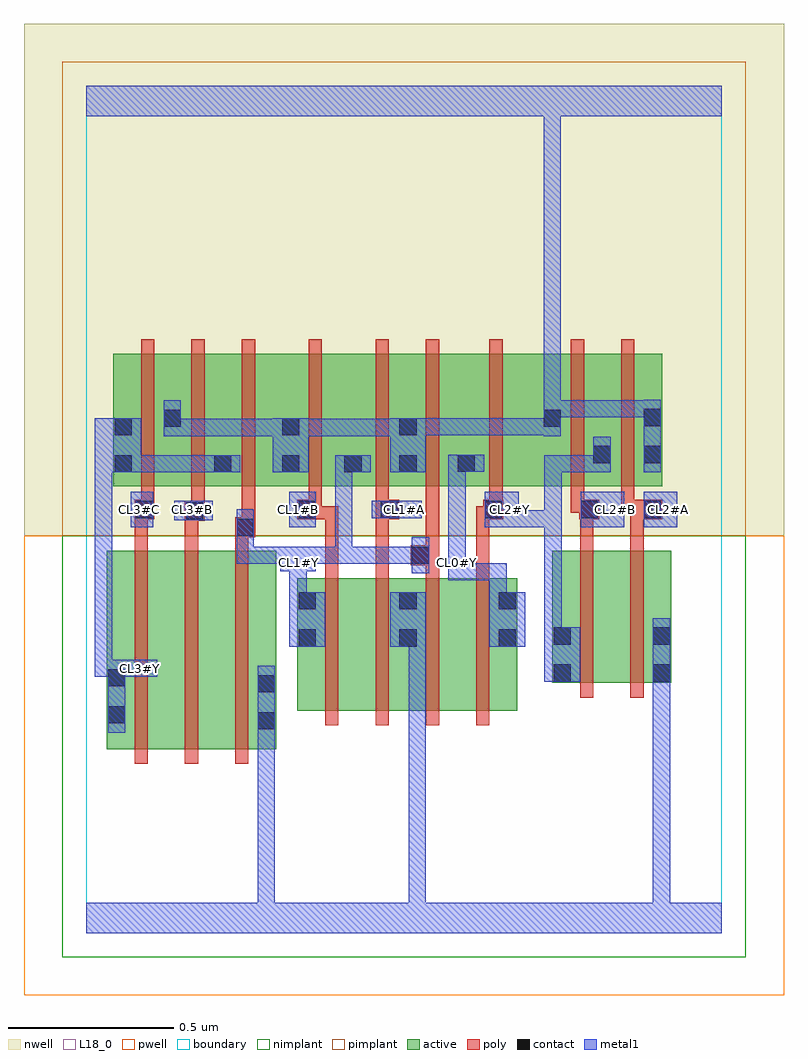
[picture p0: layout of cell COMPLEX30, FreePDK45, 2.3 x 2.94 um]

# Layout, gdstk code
import gdstk
lib = gdstk.Library(unit=1e-6, precision=1e-09)
def R(c, l, rs):  # rectangles x0, y0, x1, y1
    for r in rs: c.add(gdstk.rectangle(r[:2], r[2:], *l))
def A(c, l, x, y, w, h, nx, ny, dx, dy):  # array of equal rectangles
    R(c, l, [(x+i*dx, y+j*dy, x+i*dx+w, y+j*dy+h) for i in range(nx) for j in range(ny)])
active = (1, 0)
pwell = (2, 0)
nwell = (3, 0)
nimplant = (4, 0)
pimplant = (5, 0)
poly = (9, 0)
contact = (10, 0)
metal1 = (11, 0)
L18_0 = (18, 0)
boundary = (235, 0)

complex30 = lib.new_cell('COMPLEX30')
R(complex30, active, [(0.062,0.556,0.122,1.156), (0.062,0.556,0.242,1.156), (0.242,0.556,0.394,1.156), (0.394,0.556,0.574,1.156), (0.514,0.556,0.574,1.156), (0.638,0.672,0.818,1.072), (0.818,0.672,1.002,1.072), (0.942,0.672,1.122,1.072), (1.122,0.672,1.302,1.072), (0.638,0.756,0.698,1.072), (0.942,0.756,1.002,1.072), (1.242,0.756,1.302,1.072), (1.408,0.756,1.468,1.156), (1.408,0.756,1.588,1.156), (1.588,0.756,1.768,1.156), (1.708,0.756,1.768,1.156), (0.082,1.35,0.142,1.644), (0.082,1.35,0.29,1.75), (0.23,1.35,0.29,1.644), (0.23,1.35,0.442,1.75), (0.382,1.35,0.442,1.644), (0.382,1.35,0.648,1.75), (0.588,1.35,0.648,1.644), (0.588,1.35,0.836,1.75), (0.776,1.35,0.836,1.644), (0.776,1.35,1.002,1.75), (0.942,1.35,1.002,1.644), (0.942,1.35,1.178,1.75), (1.118,1.35,1.178,1.644), (1.118,1.35,1.438,1.75), (1.378,1.35,1.438,1.644), (1.378,1.35,1.588,1.75), (1.528,1.35,1.588,1.644), (1.528,1.35,1.74,1.75), (1.68,1.35,1.74,1.644)])
R(complex30, pwell, [(-0.188,-0.188,2.108,1.2)])
R(complex30, nwell, [(-0.188,1.2,2.108,2.748)])
R(complex30, nimplant, [(-0.072,-0.072,1.992,1.2)])
R(complex30, pimplant, [(-0.072,1.2,1.992,2.632)])
A(complex30, poly, 0.146, 0.512, 0.04, 0.688, 3, 1, 0.152, 0)
A(complex30, poly, 0.722, 0.628, 0.04, 0.488, 4, 1, 0.152, 0)
A(complex30, poly, 0.166, 1.306, 0.04, 0.488, 3, 1, 0.152, 0)
R(complex30, poly, [(1.492,0.712,1.532,1.2), (1.644,0.712,1.684,1.2), (0.722,1.076,0.762,1.29), (0.874,1.076,0.914,1.29), (1.026,1.076,1.066,1.152), (1.178,1.076,1.218,1.29), (0.98,1.112,1.066,1.172), (1.026,1.132,1.066,1.172), (1.026,1.132,1.066,1.172), (1.026,1.132,1.066,1.346), (0.146,1.16,0.186,1.29), (0.298,1.16,0.338,1.286), (0.45,1.16,0.49,1.236), (1.492,1.16,1.532,1.29), (1.644,1.16,1.684,1.29), (0.45,1.196,0.51,1.256), (0.47,1.216,0.51,1.256), (0.47,1.216,0.51,1.256), (0.47,1.216,0.51,1.346), (0.298,1.246,0.338,1.286), (0.298,1.246,0.338,1.286), (0.298,1.246,0.358,1.306), (0.146,1.25,0.186,1.29), (0.146,1.25,0.186,1.29), (0.146,1.25,0.206,1.31), (0.638,1.25,0.712,1.31), (0.672,1.25,0.712,1.29), (0.672,1.25,0.762,1.29), (0.874,1.25,0.914,1.29), (0.874,1.25,0.914,1.29), (0.874,1.25,0.946,1.31), (1.178,1.25,1.24,1.29), (1.2,1.25,1.24,1.29), (1.2,1.25,1.26,1.31), (1.49,1.25,1.55,1.31), (1.644,1.25,1.74,1.31), (0.318,1.266,0.358,1.346), (0.166,1.27,0.206,1.346), (0.672,1.27,0.712,1.346), (0.874,1.27,0.914,1.346), (1.218,1.27,1.258,1.346), (1.464,1.27,1.504,1.346), (1.464,1.27,1.53,1.31), (1.49,1.27,1.53,1.31), (1.616,1.27,1.656,1.346), (1.616,1.27,1.684,1.31), (1.644,1.27,1.684,1.31), (0.672,1.306,0.712,1.794), (0.874,1.306,0.914,1.794), (1.026,1.306,1.066,1.794), (1.218,1.306,1.258,1.794), (1.464,1.306,1.504,1.794), (1.616,1.306,1.656,1.794)])
R(complex30, contact, [(0.518,0.616,0.57,0.668), (0.066,0.634,0.118,0.686), (0.518,0.728,0.57,0.78), (0.066,0.746,0.118,0.798), (1.412,0.76,1.464,0.812), (1.712,0.76,1.764,0.812), (0.642,0.866,0.694,0.918), (0.946,0.866,0.998,0.918), (1.246,0.866,1.298,0.918), (1.412,0.872,1.464,0.924), (1.712,0.872,1.764,0.924), (0.642,0.978,0.694,1.03), (0.946,0.978,0.998,1.03), (1.246,0.978,1.298,1.03), (0.984,1.116,1.036,1.168), (0.454,1.2,0.506,1.252), (0.302,1.25,0.354,1.302), (0.15,1.254,0.202,1.306), (0.642,1.254,0.694,1.306), (0.89,1.254,0.942,1.306), (1.204,1.254,1.256,1.306), (1.494,1.254,1.546,1.306), (1.684,1.254,1.736,1.306), (0.086,1.392,0.138,1.444), (0.386,1.392,0.438,1.444), (0.592,1.392,0.644,1.444), (0.78,1.392,0.832,1.444), (0.946,1.392,0.998,1.444), (1.122,1.394,1.174,1.446), (1.532,1.42,1.584,1.472), (1.684,1.42,1.736,1.472), (0.086,1.504,0.138,1.556), (0.592,1.504,0.644,1.556), (0.946,1.504,0.998,1.556), (0.234,1.53,0.286,1.582), (1.382,1.53,1.434,1.582), (1.684,1.532,1.736,1.584)])
R(complex30, metal1, [(0,0,1.92,0.092), (0.518,0.04,0.57,0.092), (0.518,0.04,0.57,0.092), (0.518,0.04,0.57,0.092), (0.518,0.04,0.57,0.092), (0.518,0.04,0.57,0.092), (0.518,0.04,0.57,0.092), (0.518,0.04,0.57,0.092), (0.518,0.04,0.57,0.092), (0.518,0.04,0.57,0.64), (0.974,0.04,1.026,0.092), (0.974,0.04,1.026,0.092), (0.974,0.04,1.026,0.092), (0.974,0.04,1.026,0.092), (0.974,0.04,1.026,0.918), (1.712,0.04,1.764,0.092), (1.712,0.04,1.764,0.092), (1.712,0.04,1.764,0.092), (1.712,0.04,1.764,0.092), (1.712,0.04,1.764,0.092), (1.712,0.04,1.764,0.092), (1.712,0.04,1.764,0.092), (1.712,0.04,1.764,0.092), (1.712,0.04,1.764,0.092), (1.712,0.04,1.764,0.092), (1.712,0.04,1.764,0.092), (1.712,0.04,1.764,0.092), (1.712,0.04,1.764,0.784), (0.518,0.588,0.57,0.808), (0.066,0.606,0.118,0.826), (1.712,0.732,1.764,0.952), (1.384,0.76,1.492,0.924), (0.026,0.774,0.078,0.826), (0.026,0.774,0.078,0.826), (0.026,0.774,0.078,1.444), (0.026,0.774,0.214,0.826), (0.066,0.774,0.118,0.826), (0.614,0.866,0.722,1.03), (0.918,0.866,1.026,1.03), (0.974,0.866,1.026,0.918), (0.974,0.866,1.026,0.918), (0.974,0.866,1.026,0.918), (0.974,0.866,1.026,0.918), (0.974,0.866,1.026,0.918), (0.974,0.866,1.026,0.918), (0.974,0.866,1.026,0.918), (0.974,0.866,1.026,0.918), (1.218,0.866,1.326,1.03), (1.384,0.872,1.436,0.924), (1.384,0.872,1.436,0.924), (1.384,0.872,1.436,1.278), (0.614,0.978,0.666,1.146), (1.218,0.978,1.27,1.118), (1.094,1.066,1.146,1.118), (1.094,1.066,1.146,1.118), (1.094,1.066,1.146,1.174), (1.094,1.066,1.27,1.118), (1.218,1.066,1.27,1.118), (0.984,1.088,1.036,1.196), (0.586,1.094,0.694,1.168), (0.454,1.116,0.506,1.224), (0.454,1.116,0.638,1.168), (0.642,1.116,0.694,1.168), (0.642,1.116,0.694,1.168), (0.642,1.116,0.804,1.168), (0.752,1.116,0.804,1.168), (0.752,1.116,0.804,1.168), (0.752,1.116,0.804,1.168), (0.752,1.116,0.804,1.168), (0.752,1.116,0.804,1.168), (0.752,1.116,1.036,1.168), (0.752,1.116,0.804,1.444), (0.984,1.116,1.036,1.168), (0.984,1.116,1.036,1.168), (1.094,1.122,1.146,1.446), (0.454,1.172,0.506,1.224), (0.454,1.172,0.506,1.28), (0.134,1.226,0.202,1.334), (0.614,1.226,0.694,1.334), (1.204,1.226,1.306,1.334), (1.254,1.226,1.436,1.278), (1.384,1.226,1.436,1.278), (1.384,1.226,1.436,1.278), (1.384,1.226,1.436,1.278), (1.384,1.226,1.436,1.444), (1.494,1.226,1.626,1.334), (1.684,1.226,1.786,1.334), (0.266,1.248,0.382,1.306), (0.862,1.254,1.014,1.306), (0.026,1.392,0.166,1.556), (0.114,1.392,0.166,1.444), (0.114,1.392,0.166,1.444), (0.114,1.392,0.286,1.444), (0.234,1.392,0.286,1.444), (0.234,1.392,0.286,1.444), (0.234,1.392,0.286,1.444), (0.234,1.392,0.41,1.444), (0.358,1.392,0.466,1.444), (0.564,1.392,0.672,1.556), (0.752,1.392,0.86,1.444), (0.918,1.392,1.026,1.556), (1.384,1.392,1.436,1.444), (1.384,1.392,1.584,1.444), (1.532,1.392,1.584,1.444), (1.532,1.392,1.584,1.444), (1.532,1.392,1.584,1.5), (1.684,1.392,1.736,1.612), (1.094,1.394,1.146,1.446), (1.094,1.394,1.146,1.446), (1.094,1.394,1.202,1.446), (0.234,1.502,0.286,1.554), (0.234,1.502,0.286,1.554), (0.234,1.502,0.286,1.61), (0.234,1.502,0.396,1.554), (0.344,1.502,0.396,1.554), (0.344,1.502,0.396,1.554), (0.344,1.502,0.396,1.554), (0.344,1.502,0.556,1.554), (0.504,1.502,0.556,1.554), (0.504,1.502,0.616,1.554), (0.62,1.502,0.672,1.554), (0.62,1.502,0.672,1.554), (0.62,1.502,0.804,1.554), (0.752,1.502,0.804,1.554), (0.752,1.502,0.804,1.554), (0.752,1.502,0.804,1.554), (0.752,1.502,0.97,1.554), (1.382,1.502,1.434,1.61), (0.974,1.504,1.026,1.556), (0.974,1.504,1.026,1.556), (0.974,1.504,1.16,1.556), (1.108,1.504,1.16,1.556), (1.108,1.504,1.16,1.556), (1.108,1.504,1.16,1.556), (1.108,1.504,1.434,1.556), (1.382,1.504,1.434,1.556), (1.382,1.504,1.434,1.556), (1.382,1.558,1.546,1.61), (1.382,1.558,1.434,2.52), (1.494,1.558,1.546,1.61), (1.494,1.558,1.546,1.61), (1.494,1.558,1.546,1.61), (1.494,1.558,1.736,1.61), (1.684,1.558,1.736,1.61), (1.684,1.558,1.736,1.61), (0,2.468,1.92,2.56), (1.382,2.468,1.434,2.52), (1.382,2.468,1.434,2.52), (1.382,2.468,1.434,2.52), (1.382,2.468,1.434,2.52), (1.382,2.468,1.434,2.52), (1.382,2.468,1.434,2.52), (1.382,2.468,1.434,2.52), (1.382,2.468,1.434,2.52), (1.382,2.468,1.434,2.52), (1.382,2.468,1.434,2.52), (1.382,2.468,1.434,2.52), (1.382,2.468,1.434,2.52), (1.382,2.468,1.434,2.52), (1.382,2.468,1.434,2.52), (1.382,2.468,1.434,2.52), (1.382,2.468,1.434,2.52)])
A(complex30, L18_0, 0.294, 1.254, 0.052, 0.052, 5, 1, 0.32, 0)
R(complex30, L18_0, [(0,0,1.92,0.092), (0.518,0.04,0.57,0.092), (0.518,0.04,0.57,0.092), (0.518,0.04,0.57,0.092), (0.518,0.04,0.57,0.092), (0.518,0.04,0.57,0.092), (0.518,0.04,0.57,0.092), (0.518,0.04,0.57,0.092), (0.518,0.04,0.57,0.092), (0.518,0.04,0.57,0.64), (0.974,0.04,1.026,0.092), (0.974,0.04,1.026,0.092), (0.974,0.04,1.026,0.092), (0.974,0.04,1.026,0.092), (0.974,0.04,1.026,0.918), (1.712,0.04,1.764,0.092), (1.712,0.04,1.764,0.092), (1.712,0.04,1.764,0.092), (1.712,0.04,1.764,0.092), (1.712,0.04,1.764,0.092), (1.712,0.04,1.764,0.092), (1.712,0.04,1.764,0.092), (1.712,0.04,1.764,0.092), (1.712,0.04,1.764,0.092), (1.712,0.04,1.764,0.092), (1.712,0.04,1.764,0.092), (1.712,0.04,1.764,0.092), (1.712,0.04,1.764,0.784), (0.518,0.588,0.57,0.808), (0.066,0.606,0.118,0.826), (1.712,0.732,1.764,0.952), (1.384,0.76,1.492,0.924), (0.026,0.774,0.214,0.826), (0.026,0.774,0.078,0.826), (0.026,0.774,0.078,0.826), (0.026,0.774,0.078,1.444), (0.066,0.774,0.118,0.826), (0.134,0.774,0.186,0.826), (0.614,0.866,0.722,1.03), (0.918,0.866,1.026,1.03), (0.974,0.866,1.026,0.918), (0.974,0.866,1.026,0.918), (0.974,0.866,1.026,0.918), (0.974,0.866,1.026,0.918), (0.974,0.866,1.026,0.918), (0.974,0.866,1.026,0.918), (0.974,0.866,1.026,0.918), (0.974,0.866,1.026,0.918), (1.218,0.866,1.326,1.03), (1.384,0.872,1.436,0.924), (1.384,0.872,1.436,0.924), (1.384,0.872,1.436,1.278), (0.614,0.978,0.666,1.146), (1.218,0.978,1.27,1.118), (1.094,1.066,1.146,1.118), (1.094,1.066,1.146,1.118), (1.094,1.066,1.146,1.174), (1.094,1.066,1.27,1.118), (1.218,1.066,1.27,1.118), (0.984,1.088,1.036,1.196), (0.586,1.094,0.694,1.168), (0.614,1.094,0.666,1.146), (1.094,1.094,1.146,1.146), (0.454,1.116,0.506,1.224), (0.454,1.116,0.638,1.168), (0.642,1.116,0.694,1.168), (0.642,1.116,0.694,1.168), (0.642,1.116,0.804,1.168), (0.752,1.116,0.804,1.168), (0.752,1.116,0.804,1.168), (0.752,1.116,0.804,1.168), (0.752,1.116,0.804,1.168), (0.752,1.116,0.804,1.168), (0.752,1.116,0.804,1.444), (0.752,1.116,1.036,1.168), (0.984,1.116,1.036,1.168), (0.984,1.116,1.036,1.168), (1.094,1.122,1.146,1.446), (0.454,1.172,0.506,1.224), (0.454,1.172,0.506,1.28), (0.134,1.226,0.202,1.334), (0.614,1.226,0.694,1.334), (1.204,1.226,1.306,1.334), (1.254,1.226,1.436,1.278), (1.384,1.226,1.436,1.278), (1.384,1.226,1.436,1.278), (1.384,1.226,1.436,1.278), (1.384,1.226,1.436,1.444), (1.494,1.226,1.626,1.334), (1.684,1.226,1.786,1.334), (0.266,1.248,0.382,1.306), (0.134,1.254,0.186,1.306), (0.862,1.254,1.014,1.306), (1.734,1.254,1.786,1.306), (0.026,1.392,0.166,1.556), (0.114,1.392,0.166,1.444), (0.114,1.392,0.166,1.444), (0.114,1.392,0.286,1.444), (0.234,1.392,0.286,1.444), (0.234,1.392,0.286,1.444), (0.234,1.392,0.286,1.444), (0.234,1.392,0.41,1.444), (0.358,1.392,0.466,1.444), (0.564,1.392,0.672,1.556), (0.752,1.392,0.86,1.444), (0.918,1.392,1.026,1.556), (1.384,1.392,1.436,1.444), (1.384,1.392,1.584,1.444), (1.532,1.392,1.584,1.444), (1.532,1.392,1.584,1.444), (1.532,1.392,1.584,1.5), (1.684,1.392,1.736,1.612), (1.094,1.394,1.146,1.446), (1.094,1.394,1.146,1.446), (1.094,1.394,1.202,1.446), (0.234,1.502,0.286,1.554), (0.234,1.502,0.286,1.554), (0.234,1.502,0.286,1.61), (0.234,1.502,0.396,1.554), (0.344,1.502,0.396,1.554), (0.344,1.502,0.396,1.554), (0.344,1.502,0.396,1.554), (0.344,1.502,0.556,1.554), (0.504,1.502,0.556,1.554), (0.504,1.502,0.616,1.554), (0.62,1.502,0.672,1.554), (0.62,1.502,0.672,1.554), (0.62,1.502,0.804,1.554), (0.752,1.502,0.804,1.554), (0.752,1.502,0.804,1.554), (0.752,1.502,0.804,1.554), (0.752,1.502,0.97,1.554), (1.382,1.502,1.434,1.61), (0.974,1.504,1.026,1.556), (0.974,1.504,1.026,1.556), (0.974,1.504,1.16,1.556), (1.108,1.504,1.16,1.556), (1.108,1.504,1.16,1.556), (1.108,1.504,1.16,1.556), (1.108,1.504,1.434,1.556), (1.382,1.504,1.434,1.556), (1.382,1.504,1.434,1.556), (1.382,1.558,1.434,2.52), (1.382,1.558,1.546,1.61), (1.494,1.558,1.546,1.61), (1.494,1.558,1.546,1.61), (1.494,1.558,1.546,1.61), (1.494,1.558,1.736,1.61), (1.684,1.558,1.736,1.61), (1.684,1.558,1.736,1.61), (0,2.468,1.92,2.56), (1.382,2.468,1.434,2.52), (1.382,2.468,1.434,2.52), (1.382,2.468,1.434,2.52), (1.382,2.468,1.434,2.52), (1.382,2.468,1.434,2.52), (1.382,2.468,1.434,2.52), (1.382,2.468,1.434,2.52), (1.382,2.468,1.434,2.52), (1.382,2.468,1.434,2.52), (1.382,2.468,1.434,2.52), (1.382,2.468,1.434,2.52), (1.382,2.468,1.434,2.52), (1.382,2.468,1.434,2.52), (1.382,2.468,1.434,2.52), (1.382,2.468,1.434,2.52), (1.382,2.468,1.434,2.52)])
R(complex30, boundary, [(0,0,1.92,2.56)])
complex30.add(gdstk.Label('CL0#Y', (1.12,1.12), layer=11, texttype=0))
complex30.add(gdstk.Label('CL1#A', (0.96,1.28), layer=11, texttype=0))
complex30.add(gdstk.Label('CL1#B', (0.64,1.28), layer=11, texttype=0))
complex30.add(gdstk.Label('CL1#Y', (0.64,1.12), layer=11, texttype=0))
complex30.add(gdstk.Label('CL2#A', (1.76,1.28), layer=11, texttype=0))
complex30.add(gdstk.Label('CL2#B', (1.6,1.28), layer=11, texttype=0))
complex30.add(gdstk.Label('CL2#Y', (1.28,1.28), layer=11, texttype=0))
complex30.add(gdstk.Label('CL3#B', (0.32,1.28), layer=11, texttype=0))
complex30.add(gdstk.Label('CL3#C', (0.16,1.28), layer=11, texttype=0))
complex30.add(gdstk.Label('CL3#Y', (0.16,0.8), layer=11, texttype=0))

lib.write_gds('COMPLEX30.gds')
